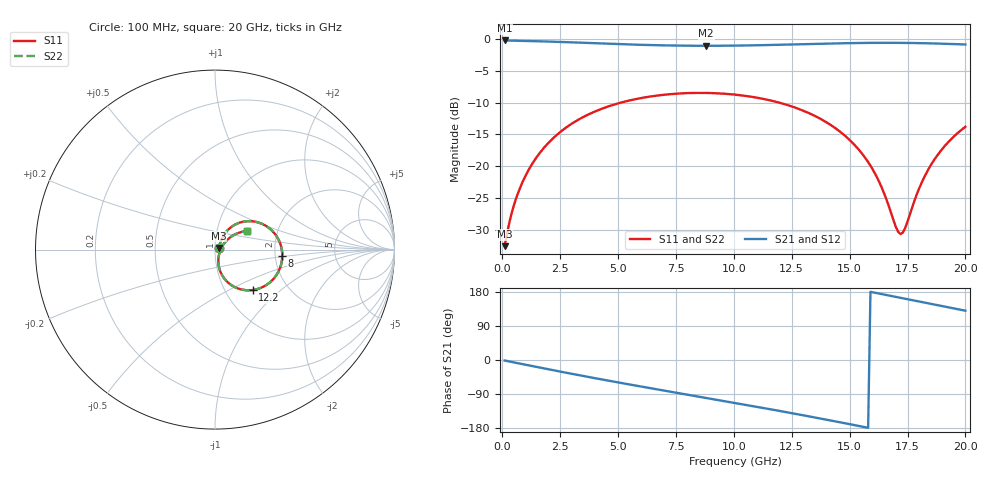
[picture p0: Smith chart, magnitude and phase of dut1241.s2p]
! Touchstone file exported from HFSS 2026.1.0
!  File:  C:/ffzhzh/LocalFiles/Ansys_Project_Files/temp_train_TSV_RDL_1241_1783323881_38820.aedt
!  Generated:  03:56:40 PM Jul  6, 2026
!  Design:  TSV_RDL
!  Project:  temp_train_TSV_RDL_1241_1783323881_38820
! Variables:
!  h_bsmrdl = 2.63um
!  h_ox = 20um
!  h_rdl = 5um
!  h_sub = 72.41um
!  h_tmrdl = 4.28um
!  h_tsv = 72.41um
!  h_via = 3um
!  l_bsmrdl = 472.92um
!  l_sub = 3749.91um
!  l_tmrdl = 449.42um
!  m_sub = 200um
!  pitch = 36.68um
!  r_tsv = 4.74um
!  s_tmrdl = 10um
!  w_bsmrdl = 14.72um
!  w_sub = 500um
!  w_tmrdl = 29.77um
!  x_tsv_center1 = 464.305um
!  x_tsv_center2 = 951.945um
!  x_tsv_center3 = 1431.135um
!  x_tsv_center4 = 1918.775um
!  x_tsv_center5 = 2397.965um
!  x_tsv_center6 = 2885.605um
# GHz S MA R 50.000000
! Terminal data exported
! Port[1] = TM_RDL1_1_T1
! Port[2] = TM_RDL5_1_T1
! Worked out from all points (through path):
!   200 points, 100 MHz to 20 GHz, reference 50 ohm
!   highest |S21| = -0.19 dB at 100 MHz (marker M1); lowest = -1.0 dB at 8.8 GHz (marker M2)
!   group delay of S21, straight-line fit = 31.3 ps
!   lowest |S11| = -32.6 dB at 100 MHz (marker M3), VSWR 1.05, Z = 52.2 + j0.944 ohm
!   |S11| at or under -10 dB: start of sweep to 5.108 GHz; 11.97 GHz to end of sweep
!   |S22| runs from -32.6 to -8.5 dB; largest |S21 - S12| = 4.8e-14
!   S11 on the Smith chart (normalised r, x): 100 MHz: 1.04, +0.02; 8 GHz: 2.19, -0.17; 12.2 GHz: 1.34, -0.67; 20 GHz: 1.39, +0.30
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0.1  0.02341 22.7  0.9786 -1.3  0.9786 -1.3  0.02341 22.7
! Gamma 0 0 0 0
! Port Impedance 50 0 50 0
0.3  0.03564 44.6  0.976 -3.9  0.976 -3.9  0.03564 44.6
0.6  0.05591 54.8  0.9729 -7.6  0.9729 -7.6  0.05591 54.8
1.3  0.1048 58.5  0.967 -16.1  0.967 -16.1  0.1048 58.5
2.3  0.1729 52.0  0.9555 -28.2  0.9555 -28.2  0.1729 52.0
3.5  0.2441 40.5  0.938 -42.2  0.938 -42.2  0.2441 40.5
5.1  0.3159 24.1  0.9147 -60.3  0.9147 -60.3  0.3159 24.1
6.8  0.3621 6.9  0.8965 -78.7  0.8965 -78.7  0.3621 6.9
8  0.3764 -5.1  0.8898 -91.5  0.8898 -91.5  0.3764 -5.1
8.8  0.3776 -13.1  0.8884 -100.0  0.8884 -100.0  0.3776 -13.1
10.1  0.3653 -26.0  0.8914 -113.9  0.8914 -113.9  0.3653 -26.1
12.2  0.3077 -47.1  0.9069 -136.9  0.9069 -136.9  0.3076 -47.1
13.4  0.2539 -58.9  0.9187 -150.5  0.9187 -150.5  0.2539 -59.0
14.5  0.1923 -69.1  0.9286 -163.4  0.9286 -163.4  0.1922 -69.2
15.4  0.1347 -75.6  0.9347 -174.1  0.9347 -174.1  0.1346 -75.7
16.1  0.08719 -76.7  0.9373 177.4  0.9373 177.4  0.08713 -76.8
16.7  0.04796 -65.8  0.9378 170.1  0.9378 170.1  0.04789 -65.9
17.1  0.03026 -33.5  0.9371 165.2  0.9371 165.2  0.0302 -33.5
17.3  0.02998 -6.9  0.9364 162.8  0.9364 162.8  0.02994 -6.8
18  0.0665 35.5  0.9326 154.2  0.9326 154.2  0.06652 35.5
18.5  0.1013 38.9  0.9284 148.1  0.9284 148.1  0.1013 38.9
20  0.2043 30.2  0.9097 130.1  0.9097 130.1  0.2044 30.1
